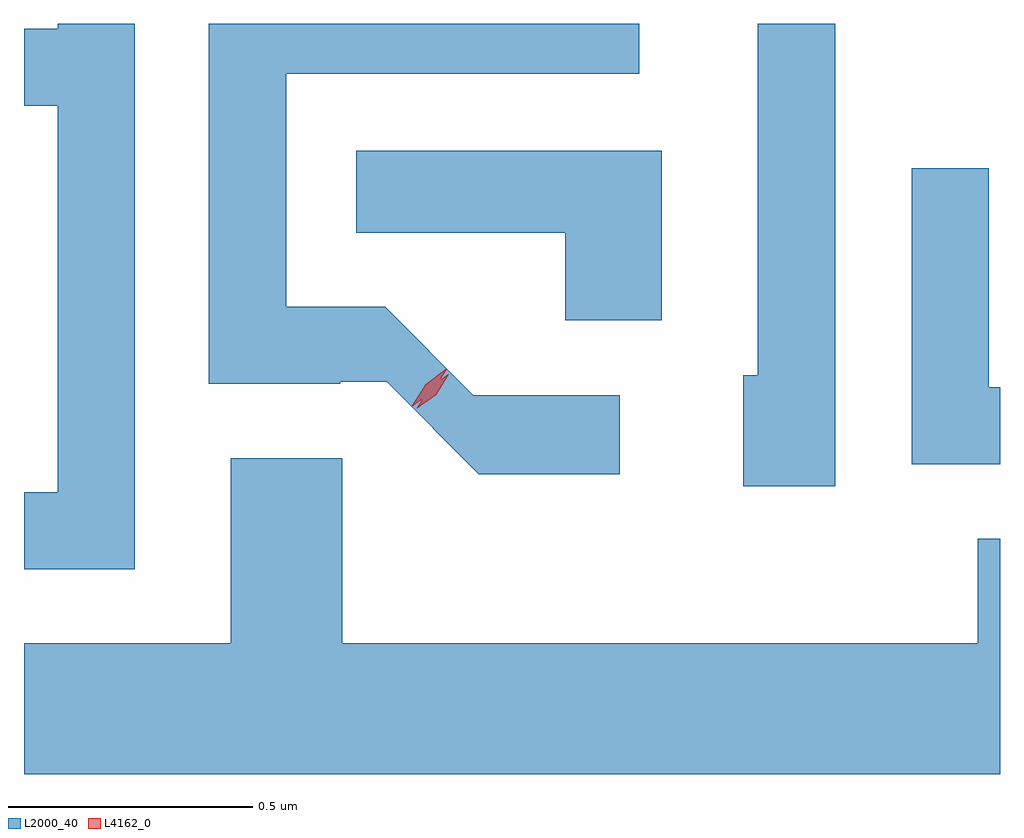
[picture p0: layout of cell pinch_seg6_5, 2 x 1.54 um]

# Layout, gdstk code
import gdstk
lib = gdstk.Library(unit=1e-6, precision=1e-09)
def P(c, l, *ps):  # polygons
    for p in ps: c.add(gdstk.Polygon(p, *l))
L2000_40 = (2000, 40)
L4162_0 = (4162, 0)

pinch_seg6_5 = lib.new_cell('pinch_seg6_5')
P(pinch_seg6_5, L2000_40, [(836.384,1647.034),(836.226,1647.034),(836.226,1647.024),(836.157,1647.024),(836.157,1646.866),(836.226,1646.866),(836.226,1646.074),(836.157,1646.074),(836.157,1645.916),(836.384,1645.916)],
  [(837.819,1647.034),(837.661,1647.034),(837.661,1646.314),(837.631,1646.314),(837.631,1646.086),(837.819,1646.086)],
  [(837.378,1646.273),(837.078,1646.273),(836.897,1646.454),(836.694,1646.454),(836.694,1646.931),(837.418,1646.931),(837.418,1647.034),(836.536,1647.034),(836.536,1646.296),(836.805,1646.296),(836.805,1646.3),(836.9,1646.3),(837.089,1646.111),(837.378,1646.111)],
  [(837.464,1646.774),(836.838,1646.774),(836.838,1646.606),(837.266,1646.606),(837.266,1646.426),(837.464,1646.426)],
  [(838.157,1646.289),(838.134,1646.289),(838.134,1646.738),(837.976,1646.738),(837.976,1646.131),(838.157,1646.131)],
  [(838.157,1645.979),(838.111,1645.979),(838.111,1645.764),(836.809,1645.764),(836.809,1646.144),(836.581,1646.144),(836.581,1645.764),(836.157,1645.764),(836.157,1645.496),(838.157,1645.496)])
P(pinch_seg6_5, L4162_0, [(836.952,1646.249),(836.952,1646.25),(836.98,1646.295),(837.022,1646.327),(837.023,1646.327),(837.023,1646.326),(836.995,1646.281),(836.952,1646.249)],
  [(836.962,1646.246),(836.962,1646.246),(836.988,1646.288),(837.026,1646.316),(837.027,1646.316),(837.027,1646.316),(837.002,1646.274),(836.963,1646.246)])

lib.write_gds('pinch_seg6_5.gds')
